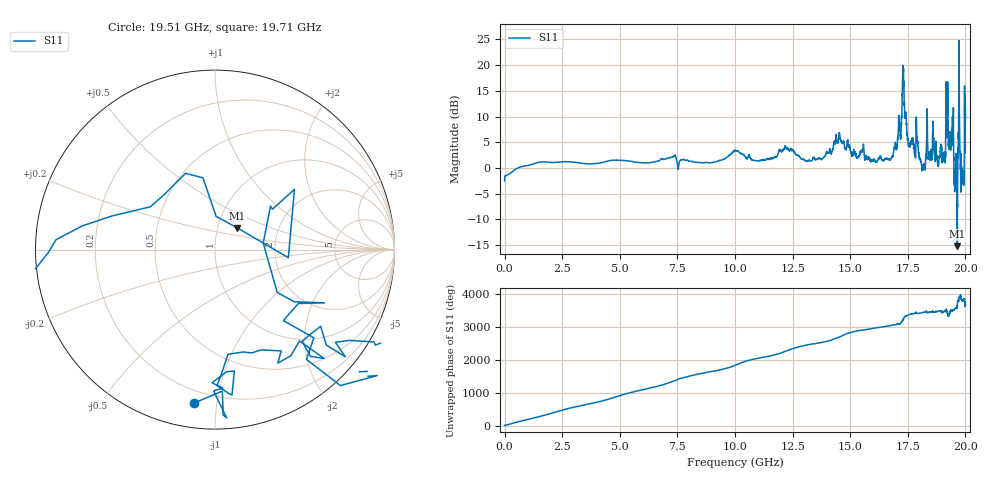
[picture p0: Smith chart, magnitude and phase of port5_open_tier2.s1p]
! Created with skrf 1.8.0 (http://scikit-rf.org).
# GHz S RI R 50.0
!freq ReS11 ImS11
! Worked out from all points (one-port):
!   10001 points, 1 MHz to 20 GHz, reference 50 ohm
!   lowest |S11| = -15.2 dB at 19.65 GHz (marker M1), VSWR 1.42, Z = 62.2 + j15.4 ohm
!   |S11| at or under -10 dB: 19.63732 GHz to 19.63885 GHz (1.529 MHz wide, 0.00779 % of centre); 19.64663 GHz to 19.65138 GHz (4.756 MHz wide, 0.0242 % of centre)
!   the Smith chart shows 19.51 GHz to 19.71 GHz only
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0.001  0.7443 0.0894
1.538923  0.1467 -1.132
2.500875  -0.3729 1.089
3.39083  -0.2588 -1.079
4.114794  1.109 0.1257
5.00075  -1.173 -0.1865
5.862707  1.099 -0.2687
6.538673  -0.1111 1.149
7.500625  0.6383 -0.8927
8.112594  0.2168 1.134
8.854557  -1.123 -0.074
9.552522  0.2993 -1.195
10.0005  1.314 0.6796
10.59247  -1.306 -0.0858
11.9024  1.335 0.646
12.50038  -1.495 0.1545
13.67432  1.24 -0.1987
14.32028  -0.6963 1.573
14.58627  -1.84 -0.0454
15.00025  0.6415 -1.369
16.30418  -0.304 1.271
17.08615  -1.811 -1.205
17.20614  -1.059 -1.9
17.34813  2.511 3.194
17.50013  -0.6174 1.816
18.24209  -0.9562 -0.4625
19.64802  0.1251 0.1205
20  2.332 2.952
